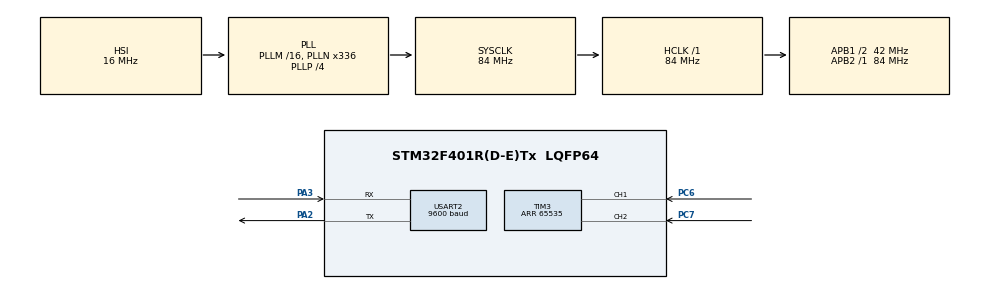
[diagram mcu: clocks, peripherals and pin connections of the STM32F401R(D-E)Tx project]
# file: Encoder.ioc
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Mcu.Family=STM32F4
Mcu.Name=STM32F401R(D-E)Tx
Mcu.Package=LQFP64
NVIC.PriorityGroup=NVIC_PRIORITYGROUP_2
NVIC.TIM1_UP_TIM10_IRQn=true\:0\:0\:false\:false\:true\:false\:true
NVIC.TIM2_IRQn=true\:0\:0\:false\:false\:true\:true\:true
NVIC.TIM3_IRQn=true\:0\:0\:false\:false\:true\:true\:true
NVIC.TimeBase=TIM1_UP_TIM10_IRQn
NVIC.TimeBaseIP=TIM1
PA13.Mode=Serial_Wire
PA13.Signal=SYS_JTMS-SWDIO
PA14.Mode=Serial_Wire
PA14.Signal=SYS_JTCK-SWCLK
PA2.GPIO_Mode=GPIO_MODE_AF_PP
PA2.GPIO_PuPd=GPIO_PULLUP
PA2.GPIO_Speed=GPIO_SPEED_FREQ_VERY_HIGH
PA2.Mode=Asynchronous
PA2.Signal=USART2_TX
PA3.GPIO_Mode=GPIO_MODE_AF_PP
PA3.GPIO_PuPd=GPIO_PULLUP
PA3.GPIO_Speed=GPIO_SPEED_FREQ_VERY_HIGH
PA3.Mode=Asynchronous
PA3.Signal=USART2_RX
PB3.Signal=SYS_JTDO-SWO
PC6.Signal=S_TIM3_CH1
PC7.Signal=S_TIM3_CH2
ProjectManager.HeapSize=0x200
ProjectManager.StackSize=0x400
ProjectManager.TargetToolchain=MDK-ARM V5.27
RCC.48MHZClocksFreq_Value=48000000
RCC.AHBFreq_Value=84000000
RCC.APB1CLKDivider=RCC_HCLK_DIV2
RCC.APB1Freq_Value=42000000
RCC.APB1TimFreq_Value=84000000
RCC.APB2Freq_Value=84000000
RCC.APB2TimFreq_Value=84000000
RCC.CortexFreq_Value=84000000
RCC.HCLKFreq_Value=84000000
RCC.HSE_VALUE=8000000
RCC.HSI_VALUE=16000000
RCC.LSE_VALUE=32768
RCC.PLLN=336
RCC.PLLP=RCC_PLLP_DIV4
RCC.PLLQ=7
RCC.SYSCLKFreq_VALUE=84000000
RCC.SYSCLKSource=RCC_SYSCLKSOURCE_PLLCLK
RCC.VCOOutputFreq_Value=336000000
SH.S_TIM3_CH1.0=TIM3_CH1,Encoder_Interface
SH.S_TIM3_CH2.0=TIM3_CH2,Encoder_Interface
TIM2.Period=42000-1
TIM2.Prescaler=2000-1
TIM3.Channel-Output\ Compare3\ No\ Output=TIM_CHANNEL_3
TIM3.IC1Filter=10
TIM3.IC1Polarity=TIM_ICPOLARITY_FALLING
TIM3.IC2Filter=10
TIM3.OCMode_3=TIM_OCMODE_ACTIVE
TIM3.Period=65535
TIM3.Pulse-Output\ Compare3\ No\ Output=65535
USART2.BaudRate=9600
USART2.VirtualMode=VM_ASYNC
VP_SYS_VS_tim1.Mode=TIM1
VP_TIM2_VS_ClockSourceINT.Mode=Internal
VP_TIM3_VS_no_output3.Mode=Output Compare3 No Output
board=NUCLEO-F401RE

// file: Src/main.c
/* USER CODE BEGIN Header */
/**
  ******************************************************************************
  * @file           : main.c
  * @brief          : Main program body
  ******************************************************************************
  * @attention
  *
  * <h2><center>&copy; Copyright (c) 2019 STMicroelectronics.
  * All rights reserved.</center></h2>
  *
  * This software component is licensed by ST under BSD 3-Clause license,
  * the "License"; You may not use this file except in compliance with the
  * License. You may obtain a copy of the License at:
  *                        opensource.org/licenses/BSD-3-Clause
  *
  ******************************************************************************
  */
/* USER CODE END Header */

#include "main.h"

/* USER CODE BEGIN Includes */
#include "stdio.h"
#include "string.h"
/* USER CODE END Includes */

TIM_HandleTypeDef htim2;
TIM_HandleTypeDef htim3;

UART_HandleTypeDef huart2;

/* USER CODE BEGIN PV */
long value = 0, value_old = 0;
float freq;
int overflow = 0;
char string[16];
/* USER CODE END PV */

void SystemClock_Config(void);
static void MX_GPIO_Init(void);
static void MX_TIM3_Init(void);
static void MX_USART2_UART_Init(void);
static void MX_TIM2_Init(void);

int main(void)
{

  /* MCU Configuration--------------------------------------------------------*/

  /* Reset of all peripherals, Initializes the Flash interface and the Systick. */
  HAL_Init();

  /* Configure the system clock */
  SystemClock_Config();

  /* Initialize all configured peripherals */
  MX_GPIO_Init();
  MX_TIM3_Init();
  MX_USART2_UART_Init();
  MX_TIM2_Init();
  /* USER CODE BEGIN 2 */
	HAL_TIM_Base_Start_IT(&htim2);										// start timer 2 (1Hz)
	HAL_TIM_Encoder_Start(&htim3, TIM_CHANNEL_ALL);		// start timer 3 as encoder
	HAL_TIM_OC_Start_IT(&htim3, TIM_CHANNEL_3);				// enable interrupt in case of overflow
  /* USER CODE END 2 */

  /* Infinite loop */
  while (1)
  {

  }
}

void SystemClock_Config(void)
{
  RCC_OscInitTypeDef RCC_OscInitStruct = {0};
  RCC_ClkInitTypeDef RCC_ClkInitStruct = {0};

  /** Configure the main internal regulator output voltage
  */
  __HAL_RCC_PWR_CLK_ENABLE();
  __HAL_PWR_VOLTAGESCALING_CONFIG(PWR_REGULATOR_VOLTAGE_SCALE2);
  /** Initializes the CPU, AHB and APB busses clocks
  */
  RCC_OscInitStruct.OscillatorType = RCC_OSCILLATORTYPE_HSI;
  RCC_OscInitStruct.HSIState = RCC_HSI_ON;
  RCC_OscInitStruct.HSICalibrationValue = RCC_HSICALIBRATION_DEFAULT;
  RCC_OscInitStruct.PLL.PLLState = RCC_PLL_ON;
  RCC_OscInitStruct.PLL.PLLSource = RCC_PLLSOURCE_HSI;
  RCC_OscInitStruct.PLL.PLLM = 16;
  RCC_OscInitStruct.PLL.PLLN = 336;
  RCC_OscInitStruct.PLL.PLLP = RCC_PLLP_DIV4;
  RCC_OscInitStruct.PLL.PLLQ = 7;
  if (HAL_RCC_OscConfig(&RCC_OscInitStruct) != HAL_OK)
  {
    Error_Handler();
  }
  /** Initializes the CPU, AHB and APB busses clocks
  */
  RCC_ClkInitStruct.ClockType = RCC_CLOCKTYPE_HCLK|RCC_CLOCKTYPE_SYSCLK
                              |RCC_CLOCKTYPE_PCLK1|RCC_CLOCKTYPE_PCLK2;
  RCC_ClkInitStruct.SYSCLKSource = RCC_SYSCLKSOURCE_PLLCLK;
  RCC_ClkInitStruct.AHBCLKDivider = RCC_SYSCLK_DIV1;
  RCC_ClkInitStruct.APB1CLKDivider = RCC_HCLK_DIV2;
  RCC_ClkInitStruct.APB2CLKDivider = RCC_HCLK_DIV1;

  if (HAL_RCC_ClockConfig(&RCC_ClkInitStruct, FLASH_LATENCY_2) != HAL_OK)
  {
    Error_Handler();
  }
}

static void MX_TIM2_Init(void)
{

  TIM_ClockConfigTypeDef sClockSourceConfig = {0};
  TIM_MasterConfigTypeDef sMasterConfig = {0};

  htim2.Instance = TIM2;
  htim2.Init.Prescaler = 2000-1;
  htim2.Init.CounterMode = TIM_COUNTERMODE_UP;
  htim2.Init.Period = 42000-1;
  htim2.Init.ClockDivision = TIM_CLOCKDIVISION_DIV1;
  htim2.Init.AutoReloadPreload = TIM_AUTORELOAD_PRELOAD_DISABLE;
  if (HAL_TIM_Base_Init(&htim2) != HAL_OK)
  {
    Error_Handler();
  }
  sClockSourceConfig.ClockSource = TIM_CLOCKSOURCE_INTERNAL;
  if (HAL_TIM_ConfigClockSource(&htim2, &sClockSourceConfig) != HAL_OK)
  {
    Error_Handler();
  }
  sMasterConfig.MasterOutputTrigger = TIM_TRGO_RESET;
  sMasterConfig.MasterSlaveMode = TIM_MASTERSLAVEMODE_DISABLE;
  if (HAL_TIMEx_MasterConfigSynchronization(&htim2, &sMasterConfig) != HAL_OK)
  {
    Error_Handler();
  }

}

static void MX_TIM3_Init(void)
{

  TIM_Encoder_InitTypeDef sConfig = {0};
  TIM_MasterConfigTypeDef sMasterConfig = {0};
  TIM_OC_InitTypeDef sConfigOC = {0};

  htim3.Instance = TIM3;
  htim3.Init.Prescaler = 0;
  htim3.Init.CounterMode = TIM_COUNTERMODE_UP;
  htim3.Init.Period = 65535;
  htim3.Init.ClockDivision = TIM_CLOCKDIVISION_DIV1;
  htim3.Init.AutoReloadPreload = TIM_AUTORELOAD_PRELOAD_DISABLE;
  if (HAL_TIM_OC_Init(&htim3) != HAL_OK)
  {
    Error_Handler();
  }
  sConfig.EncoderMode = TIM_ENCODERMODE_TI1;
  sConfig.IC1Polarity = TIM_ICPOLARITY_FALLING;
  sConfig.IC1Selection = TIM_ICSELECTION_DIRECTTI;
  sConfig.IC1Prescaler = TIM_ICPSC_DIV1;
  sConfig.IC1Filter = 10;
  sConfig.IC2Polarity = TIM_ICPOLARITY_RISING;
  sConfig.IC2Selection = TIM_ICSELECTION_DIRECTTI;
  sConfig.IC2Prescaler = TIM_ICPSC_DIV1;
  sConfig.IC2Filter = 10;
  if (HAL_TIM_Encoder_Init(&htim3, &sConfig) != HAL_OK)
  {
    Error_Handler();
  }
  sMasterConfig.MasterOutputTrigger = TIM_TRGO_RESET;
  sMasterConfig.MasterSlaveMode = TIM_MASTERSLAVEMODE_DISABLE;
  if (HAL_TIMEx_MasterConfigSynchronization(&htim3, &sMasterConfig) != HAL_OK)
  {
    Error_Handler();
  }
  sConfigOC.OCMode = TIM_OCMODE_ACTIVE;
  sConfigOC.Pulse = 65535;
  sConfigOC.OCPolarity = TIM_OCPOLARITY_HIGH;
  sConfigOC.OCFastMode = TIM_OCFAST_DISABLE;
  if (HAL_TIM_OC_ConfigChannel(&htim3, &sConfigOC, TIM_CHANNEL_3) != HAL_OK)
  {
    Error_Handler();
  }

}

static void MX_USART2_UART_Init(void)
{

  huart2.Instance = USART2;
  huart2.Init.BaudRate = 9600;
  huart2.Init.WordLength = UART_WORDLENGTH_8B;
  huart2.Init.StopBits = UART_STOPBITS_1;
  huart2.Init.Parity = UART_PARITY_NONE;
  huart2.Init.Mode = UART_MODE_TX_RX;
  huart2.Init.HwFlowCtl = UART_HWCONTROL_NONE;
  huart2.Init.OverSampling = UART_OVERSAMPLING_16;
  if (HAL_UART_Init(&huart2) != HAL_OK)
  {
    Error_Handler();
  }

}

static void MX_GPIO_Init(void)
{

  /* GPIO Ports Clock Enable */
  __HAL_RCC_GPIOA_CLK_ENABLE();
  __HAL_RCC_GPIOC_CLK_ENABLE();
  __HAL_RCC_GPIOB_CLK_ENABLE();

}

/* USER CODE BEGIN 4 */
void HAL_TIM_OC_DelayElapsedCallback(TIM_HandleTypeDef *htim){
	overflow++; // period incremented in case of overflow (takes care of the special case)
}
/* USER CODE END 4 */

void HAL_TIM_PeriodElapsedCallback(TIM_HandleTypeDef *htim)
{
  if (htim->Instance == TIM1) {
    HAL_IncTick();
  }
  /* USER CODE BEGIN Callback 1 */
	if (htim->Instance == TIM2) {		// called every second
    value_old = value;
		value = __HAL_TIM_GET_COUNTER(&htim3);	// get the value of the pulses recorded by TIM3

		if (overflow == 0)  			// no overflow occurred
			freq = (float) (value-value_old)/24;
		else{											// overflow occurred
			if(value < value_old) 	// positive overflow, value_old high
				freq = (float) (value+(htim3.Init.Period-value_old)+1)/24;
				// htim3.Init.Period = 65535 (from CUBE)
			else										// negative overflow, value high
				freq = (float) (-1)*((htim3.Init.Period-value)+value_old+1)/24;
			overflow = 0;
		}
		// data transmission
		sprintf(string, "%1.4f Hz\r\n", freq);
		HAL_UART_Transmit(&huart2, (uint8_t *) string, strlen(string), 100);
  }
  /* USER CODE END Callback 1 */
}

void Error_Handler(void)
{
}

/************************ (C) COPYRIGHT STMicroelectronics *****END OF FILE****/
